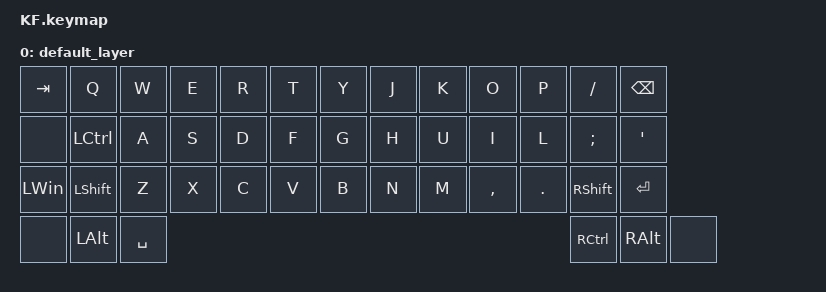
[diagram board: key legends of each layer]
#include <behaviors.dtsi>
#include <dt-bindings/zmk/keys.h>
#include <dt-bindings/zmk/bt.h>

/ {
    keymap {
        compatible = "zmk,keymap";

        default_layer {
            bindings = <
                &kp TAB     &kp Q       &kp W   &kp E   &kp R   &kp T   &kp Y   &kp J   &kp K   &kp O       &kp P       &kp FSLH     &kp BACKSPACE
                &none       &kp LCTRL   &kp A   &kp S   &kp D   &kp F   &kp G   &kp H   &kp U   &kp I       &kp L       &kp SEMICOLON       &kp APOS           
                &kp LWIN    &kp LSHIFT  &kp Z   &kp X   &kp C   &kp V   &kp B   &kp N   &kp M   &kp COMMA   &kp PERIOD  &kp RSHIFT          &kp ENTER
                &none       &kp LALT                                    &kp SPACE                           &kp RCTRL   &kp RALT            &none
            >;
        };
    };
};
